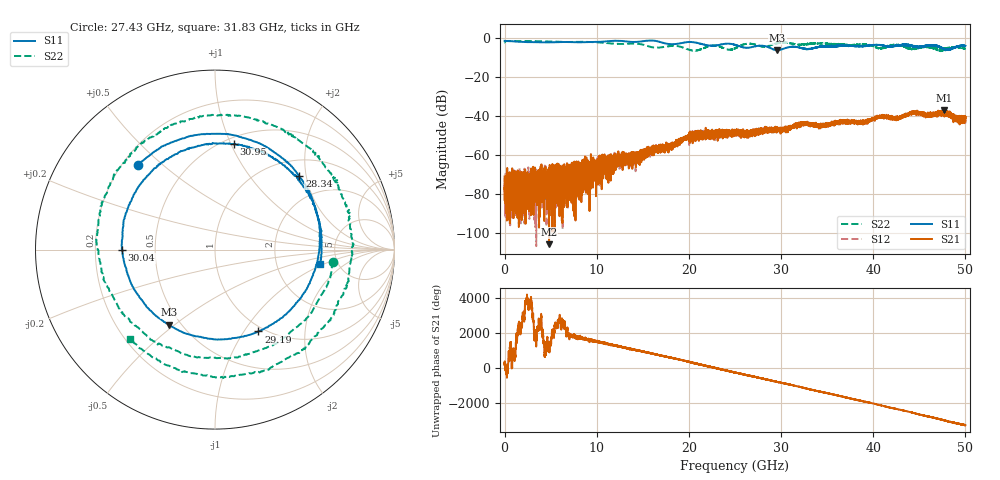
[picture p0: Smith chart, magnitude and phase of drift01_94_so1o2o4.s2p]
!Created with skrf (http://scikit-rf.org).
# Hz S RI R 50.0
!freq ReS11 ImS11 ReS21 ImS21 ReS12 ImS12 ReS22 ImS22
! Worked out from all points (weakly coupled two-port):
!   10001 points, 300 kHz to 50 GHz, reference 50 ohm
!   highest |S21| = -36.93 dB at 47.69 GHz (marker M1); lowest = -105.6 dB at 4.825 GHz (marker M2)
!   lowest |S11| = -6.2 dB at 29.61 GHz (marker M3), VSWR 2.92, Z = 21.7 - j23.9 ohm
!   |S11| at or under -10 dB: nowhere
!   |S22| runs from -6.6 to -1.4 dB; largest |S21 - S12| = 0.0039
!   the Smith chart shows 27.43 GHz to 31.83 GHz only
!   S11 on the Smith chart (normalised r, x): 27.43 GHz: 0.26, +0.41; 28.34 GHz: 1.37, +1.83; 29.19 GHz: 0.94, -1.17; 30.04 GHz: 0.32, -0.00; 30.95 GHz: 0.56, +1.03; 31.83 GHz: 3.68, -0.89
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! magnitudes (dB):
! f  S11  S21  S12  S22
! 300 kHz  -1.3  -70.8  -74.0  -2.1
! 250.3 MHz  -1.4  -93.5  -77.1  -1.4
! 800.3 MHz  -1.5  -75.2  -77.0  -1.5
! 4.825 GHz  -2.1  -105.6  -71.9  -1.6
! 8.335 GHz  -2.0  -68.7  -67.6  -1.8
! 12.33 GHz  -1.3  -61.9  -61.4  -2.9
! 14.3 GHz  -1.8  -63.6  -60.3  -2.8
! 16.67 GHz  -1.6  -55.8  -56.1  -4.8
! 20.82 GHz  -2.3  -48.1  -48.5  -6.3
! 22.6 GHz  -3.8  -48.8  -49.3  -3.8
! 25 GHz  -3.3  -48.1  -48.4  -5.1
! 27.43 GHz  -3.9  -48.5  -47.2  -3.6
! 28.34 GHz  -4.1  -46.7  -47.7  -4.2
! 29.19 GHz  -5.7  -47.8  -47.0  -3.0
! 29.61 GHz  -6.2  -46.8  -45.9  -2.5
! 30.04 GHz  -5.7  -47.7  -46.7  -2.4
! 30.95 GHz  -4.5  -44.9  -46.2  -2.5
! 31.83 GHz  -4.5  -44.4  -43.5  -3.2
! 33.34 GHz  -5.2  -44.3  -45.0  -2.6
! 41.67 GHz  -4.3  -39.7  -40.4  -4.2
! 47.69 GHz  -5.5  -36.9  -38.8  -6.0
! 50 GHz  -3.9  -42.5  -42.3  -5.4
